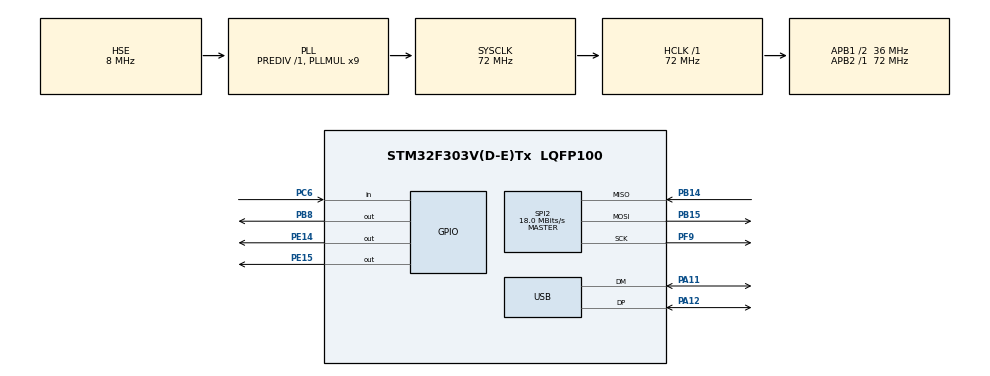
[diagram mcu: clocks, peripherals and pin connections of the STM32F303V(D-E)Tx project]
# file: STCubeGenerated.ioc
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Dma.Request0=SPI2_RX
Dma.Request1=SPI2_TX
Dma.SPI2_RX.0.Direction=DMA_PERIPH_TO_MEMORY
Dma.SPI2_RX.0.Instance=DMA1_Channel4
Dma.SPI2_RX.0.MemDataAlignment=DMA_MDATAALIGN_BYTE
Dma.SPI2_RX.0.MemInc=DMA_MINC_ENABLE
Dma.SPI2_RX.0.Mode=DMA_NORMAL
Dma.SPI2_RX.0.PeriphDataAlignment=DMA_PDATAALIGN_BYTE
Dma.SPI2_RX.0.PeriphInc=DMA_PINC_DISABLE
Dma.SPI2_RX.0.Priority=DMA_PRIORITY_LOW
Dma.SPI2_TX.1.Direction=DMA_MEMORY_TO_PERIPH
Dma.SPI2_TX.1.Instance=DMA1_Channel5
Dma.SPI2_TX.1.MemDataAlignment=DMA_MDATAALIGN_BYTE
Dma.SPI2_TX.1.MemInc=DMA_MINC_ENABLE
Dma.SPI2_TX.1.Mode=DMA_NORMAL
Dma.SPI2_TX.1.PeriphDataAlignment=DMA_PDATAALIGN_BYTE
Dma.SPI2_TX.1.PeriphInc=DMA_PINC_DISABLE
Dma.SPI2_TX.1.Priority=DMA_PRIORITY_LOW
Mcu.Family=STM32F3
Mcu.Name=STM32F303V(D-E)Tx
Mcu.Package=LQFP100
NVIC.DMA1_Channel4_IRQn=true\:0\:0\:false\:false\:true\:false
NVIC.DMA1_Channel5_IRQn=true\:0\:0\:false\:false\:true\:false
NVIC.PriorityGroup=NVIC_PRIORITYGROUP_4
NVIC.SPI2_IRQn=true\:0\:0\:false\:false\:true\:true
NVIC.USB_HP_CAN_TX_IRQn=true\:0\:0\:false\:false\:true\:true
NVIC.USB_LP_CAN_RX0_IRQn=true\:0\:0\:false\:false\:true\:true
PA11.Mode=Device
PA11.Signal=USB_DM
PA12.Mode=Device
PA12.Signal=USB_DP
PB14.Mode=Full_Duplex_Master
PB14.Signal=SPI2_MISO
PB15.Mode=Full_Duplex_Master
PB15.Signal=SPI2_MOSI
PB8.GPIO_ModeDefaultOutputPP=GPIO_MODE_OUTPUT_OD
PB8.PinState=GPIO_PIN_SET
PB8.Signal=GPIO_Output
PC6.Signal=GPIO_Input
PE14.GPIO_ModeDefaultOutputPP=GPIO_MODE_OUTPUT_OD
PE14.PinState=GPIO_PIN_SET
PE14.Signal=GPIO_Output
PE15.GPIO_ModeDefaultOutputPP=GPIO_MODE_OUTPUT_OD
PE15.PinState=GPIO_PIN_SET
PE15.Signal=GPIO_Output
PF0-OSC_IN.Mode=HSE-External-Oscillator
PF0-OSC_IN.Signal=RCC_OSC_IN
PF1-OSC_OUT.Mode=HSE-External-Oscillator
PF1-OSC_OUT.Signal=RCC_OSC_OUT
PF9.Mode=Full_Duplex_Master
PF9.Signal=SPI2_SCK
ProjectManager.HeapSize=0x200
ProjectManager.StackSize=0x400
ProjectManager.TargetToolchain=MDK-ARM V5
RCC.AHBFreq_Value=72000000
RCC.APB1CLKDivider=RCC_HCLK_DIV2
RCC.APB1Freq_Value=36000000
RCC.APB1TimFreq_Value=72000000
RCC.APB2Freq_Value=72000000
RCC.APB2TimFreq_Value=72000000
RCC.CortexFreq_Value=72000000
RCC.HCLKFreq_Value=72000000
RCC.HSE_VALUE=8000000
RCC.HSI_VALUE=8000000
RCC.LSE_VALUE=32768
RCC.PLLMUL=RCC_PLL_MUL9
RCC.PRESCALERUSB=RCC_USBCLKSOURCE_PLL_DIV1_5
RCC.SYSCLKFreq_VALUE=72000000
RCC.SYSCLKSourceVirtual=RCC_SYSCLKSOURCE_PLLCLK
RCC.USBFreq_Value=48000000
SPI2.CalculateBaudRate=18.0 MBits/s
SPI2.Direction=SPI_DIRECTION_2LINES
SPI2.Mode=SPI_MODE_MASTER
SPI2.VirtualType=VM_MASTER
board=STCubeGenerated

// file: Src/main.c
/**
  ******************************************************************************
  * File Name          : main.c
  * Description        : Main program body
  ******************************************************************************
  ** This notice applies to any and all portions of this file
  * that are not between comment pairs USER CODE BEGIN and
  * USER CODE END. Other portions of this file, whether
  * inserted by the user or by software development tools
  * are owned by their respective copyright owners.
  *
  * COPYRIGHT(c) 2018 STMicroelectronics
  *
  * Redistribution and use in source and binary forms, with or without modification,
  * are permitted provided that the following conditions are met:
  *   1. Redistributions of source code must retain the above copyright notice,
  *      this list of conditions and the following disclaimer.
  *   2. Redistributions in binary form must reproduce the above copyright notice,
  *      this list of conditions and the following disclaimer in the documentation
  *      and/or other materials provided with the distribution.
  *   3. Neither the name of STMicroelectronics nor the names of its contributors
  *      may be used to endorse or promote products derived from this software
  *      without specific prior written permission.
  *
  * THIS SOFTWARE IS PROVIDED BY THE COPYRIGHT HOLDERS AND CONTRIBUTORS "AS IS"
  * AND ANY EXPRESS OR IMPLIED WARRANTIES, INCLUDING, BUT NOT LIMITED TO, THE
  * IMPLIED WARRANTIES OF MERCHANTABILITY AND FITNESS FOR A PARTICULAR PURPOSE ARE
  * DISCLAIMED. IN NO EVENT SHALL THE COPYRIGHT HOLDER OR CONTRIBUTORS BE LIABLE
  * FOR ANY DIRECT, INDIRECT, INCIDENTAL, SPECIAL, EXEMPLARY, OR CONSEQUENTIAL
  * DAMAGES (INCLUDING, BUT NOT LIMITED TO, PROCUREMENT OF SUBSTITUTE GOODS OR
  * SERVICES; LOSS OF USE, DATA, OR PROFITS; OR BUSINESS INTERRUPTION) HOWEVER
  * CAUSED AND ON ANY THEORY OF LIABILITY, WHETHER IN CONTRACT, STRICT LIABILITY,
  * OR TORT (INCLUDING NEGLIGENCE OR OTHERWISE) ARISING IN ANY WAY OUT OF THE USE
  * OF THIS SOFTWARE, EVEN IF ADVISED OF THE POSSIBILITY OF SUCH DAMAGE.
  *
  ******************************************************************************
  */

#include "main.h"
#include "stm32f3xx_hal.h"

/* USER CODE BEGIN Includes */
#include "MX_Device.h"
/* USER CODE END Includes */

SPI_HandleTypeDef hspi2;
DMA_HandleTypeDef hdma_spi2_rx;
DMA_HandleTypeDef hdma_spi2_tx;

PCD_HandleTypeDef hpcd_USB_FS;

/* USER CODE BEGIN PV */
/* Private variables ---------------------------------------------------------*/

/* USER CODE END PV */

void SystemClock_Config(void);
static void MX_GPIO_Init(void);
static void MX_DMA_Init(void);
static void MX_USB_PCD_Init(void);
static void MX_SPI2_Init(void);

/* USER CODE BEGIN PFP */
/* Private function prototypes -----------------------------------------------*/

/* USER CODE END PFP */

/* USER CODE BEGIN 0 */

/**
  * Override default HAL_GetTick function
  */
uint32_t HAL_GetTick (void) {
  static uint32_t ticks = 0U;
         uint32_t i;

  if (osKernelGetState () == osKernelRunning) {
    return ((uint32_t)osKernelGetTickCount ());
  }

  /* If Kernel is not running wait approximately 1 ms then increment
     and return auxiliary tick counter value */
  for (i = (SystemCoreClock >> 14U); i > 0U; i--) {
    __NOP(); __NOP(); __NOP(); __NOP(); __NOP(); __NOP();
    __NOP(); __NOP(); __NOP(); __NOP(); __NOP(); __NOP();
  }
  return ++ticks;
}

/**
  Callback function used to read Card Detect (CD) pin state when
  Memory Card is used in SPI mode.
  \param[in]  drive_num                Memory Card Drive number
  \return     1:card detected, 0:card not detected, or error
*/
int32_t fs_mc_read_cd (uint32_t drive_num) {

  if (drive_num == 0U) {
    if (HAL_GPIO_ReadPin(MX_PC6_GPIOx, MX_PC6_GPIO_Pin) == GPIO_PIN_RESET) {
      return 1U;
    }
  }

  return 0U;
}

/**
  Callback function used to control Slave Select signal when
  Memory Card is used in SPI mode.
  \param[in]  drive_num                Memory Card Drive number
  \param[in]  ss                       Slave select signal state (0=inactive, 1=active)
  \return     slave select signal state
*/
int32_t fs_mc_spi_control_ss (uint32_t drive_num, uint32_t ss) {

  if (drive_num == 0U) {
    if (ss == 1U) {
      HAL_GPIO_WritePin(MX_PE15_GPIOx, MX_PE15_GPIO_Pin, GPIO_PIN_RESET);
    } else {
      HAL_GPIO_WritePin(MX_PE15_GPIOx, MX_PE15_GPIO_Pin, GPIO_PIN_SET);
    }

    return ((int32_t)ss);
  }

  return -1;
}

/**
  * @brief  Software Device Connection
  * @param  hpcd: PCD handle
  * @param  state: connection state (0 : disconnected / 1: connected)
  * @retval None
  */
void HAL_PCDEx_SetConnectionState(PCD_HandleTypeDef *hpcd, uint8_t state)
{
  if(state == 1U) {
    HAL_GPIO_WritePin(MX_PB8_GPIOx, MX_PB8_GPIO_Pin, GPIO_PIN_RESET);
  } else {
    HAL_GPIO_WritePin(MX_PB8_GPIOx, MX_PB8_GPIO_Pin, GPIO_PIN_SET);
  }
}
/* USER CODE END 0 */

int main(void)
{

  /* MCU Configuration----------------------------------------------------------*/

  /* Reset of all peripherals, Initializes the Flash interface and the Systick. */
  HAL_Init();

  /* Configure the system clock */
  SystemClock_Config();

  /* USER CODE BEGIN SysInit */
  SystemCoreClockUpdate();
  /* USER CODE END SysInit */

  /* Initialize all configured peripherals */
  MX_GPIO_Init();
  MX_DMA_Init();
  MX_USB_PCD_Init();
  MX_SPI2_Init();

  /* USER CODE BEGIN 2 */

  /* Initialize CMSIS-RTOS2 */
  osKernelInitialize ();

  /* Create application main thread */
  osThreadNew(app_main, NULL, &app_main_attr);

  /* Start thread execution */
  osKernelStart();

  /* USER CODE END 2 */

  /* Infinite loop */
  while (1)
  {

  }

}

/** System Clock Configuration
*/
void SystemClock_Config(void)
{

  RCC_OscInitTypeDef RCC_OscInitStruct;
  RCC_ClkInitTypeDef RCC_ClkInitStruct;
  RCC_PeriphCLKInitTypeDef PeriphClkInit;

    /**Initializes the CPU, AHB and APB busses clocks
    */
  RCC_OscInitStruct.OscillatorType = RCC_OSCILLATORTYPE_HSE;
  RCC_OscInitStruct.HSEState = RCC_HSE_ON;
  RCC_OscInitStruct.HSIState = RCC_HSI_ON;
  RCC_OscInitStruct.PLL.PLLState = RCC_PLL_ON;
  RCC_OscInitStruct.PLL.PLLSource = RCC_PLLSOURCE_HSE;
  RCC_OscInitStruct.PLL.PLLMUL = RCC_PLL_MUL9;
  RCC_OscInitStruct.PLL.PREDIV = RCC_PREDIV_DIV1;
  if (HAL_RCC_OscConfig(&RCC_OscInitStruct) != HAL_OK)
  {
    _Error_Handler(__FILE__, __LINE__);
  }

    /**Initializes the CPU, AHB and APB busses clocks
    */
  RCC_ClkInitStruct.ClockType = RCC_CLOCKTYPE_HCLK|RCC_CLOCKTYPE_SYSCLK
                              |RCC_CLOCKTYPE_PCLK1|RCC_CLOCKTYPE_PCLK2;
  RCC_ClkInitStruct.SYSCLKSource = RCC_SYSCLKSOURCE_PLLCLK;
  RCC_ClkInitStruct.AHBCLKDivider = RCC_SYSCLK_DIV1;
  RCC_ClkInitStruct.APB1CLKDivider = RCC_HCLK_DIV2;
  RCC_ClkInitStruct.APB2CLKDivider = RCC_HCLK_DIV1;

  if (HAL_RCC_ClockConfig(&RCC_ClkInitStruct, FLASH_LATENCY_2) != HAL_OK)
  {
    _Error_Handler(__FILE__, __LINE__);
  }

  PeriphClkInit.PeriphClockSelection = RCC_PERIPHCLK_USB;
  PeriphClkInit.USBClockSelection = RCC_USBCLKSOURCE_PLL_DIV1_5;
  if (HAL_RCCEx_PeriphCLKConfig(&PeriphClkInit) != HAL_OK)
  {
    _Error_Handler(__FILE__, __LINE__);
  }

    /**Configure the Systick interrupt time
    */
  HAL_SYSTICK_Config(HAL_RCC_GetHCLKFreq()/1000);

    /**Configure the Systick
    */
  HAL_SYSTICK_CLKSourceConfig(SYSTICK_CLKSOURCE_HCLK);

  /* SysTick_IRQn interrupt configuration */
  HAL_NVIC_SetPriority(SysTick_IRQn, 15, 0);
}

/* SPI2 init function */
static void MX_SPI2_Init(void)
{

  /* SPI2 parameter configuration*/
  hspi2.Instance = SPI2;
  hspi2.Init.Mode = SPI_MODE_MASTER;
  hspi2.Init.Direction = SPI_DIRECTION_2LINES;
  hspi2.Init.DataSize = SPI_DATASIZE_4BIT;
  hspi2.Init.CLKPolarity = SPI_POLARITY_LOW;
  hspi2.Init.CLKPhase = SPI_PHASE_1EDGE;
  hspi2.Init.NSS = SPI_NSS_SOFT;
  hspi2.Init.BaudRatePrescaler = SPI_BAUDRATEPRESCALER_2;
  hspi2.Init.FirstBit = SPI_FIRSTBIT_MSB;
  hspi2.Init.TIMode = SPI_TIMODE_DISABLE;
  hspi2.Init.CRCCalculation = SPI_CRCCALCULATION_DISABLE;
  hspi2.Init.CRCPolynomial = 7;
  hspi2.Init.CRCLength = SPI_CRC_LENGTH_DATASIZE;
  hspi2.Init.NSSPMode = SPI_NSS_PULSE_ENABLE;
  if (HAL_SPI_Init(&hspi2) != HAL_OK)
  {
    _Error_Handler(__FILE__, __LINE__);
  }

}

/* USB init function */
static void MX_USB_PCD_Init(void)
{

  hpcd_USB_FS.Instance = USB;
  hpcd_USB_FS.Init.dev_endpoints = 8;
  hpcd_USB_FS.Init.speed = PCD_SPEED_FULL;
  hpcd_USB_FS.Init.ep0_mps = DEP0CTL_MPS_64;
  hpcd_USB_FS.Init.phy_itface = PCD_PHY_EMBEDDED;
  hpcd_USB_FS.Init.low_power_enable = DISABLE;
  hpcd_USB_FS.Init.lpm_enable = DISABLE;
  hpcd_USB_FS.Init.battery_charging_enable = DISABLE;
  if (HAL_PCD_Init(&hpcd_USB_FS) != HAL_OK)
  {
    _Error_Handler(__FILE__, __LINE__);
  }

}

static void MX_DMA_Init(void)
{
  /* DMA controller clock enable */
  __HAL_RCC_DMA1_CLK_ENABLE();

  /* DMA interrupt init */
  /* DMA1_Channel4_IRQn interrupt configuration */
  HAL_NVIC_SetPriority(DMA1_Channel4_IRQn, 0, 0);
  HAL_NVIC_EnableIRQ(DMA1_Channel4_IRQn);
  /* DMA1_Channel5_IRQn interrupt configuration */
  HAL_NVIC_SetPriority(DMA1_Channel5_IRQn, 0, 0);
  HAL_NVIC_EnableIRQ(DMA1_Channel5_IRQn);

}

/** Configure pins as
        * Analog
        * Input
        * Output
        * EVENT_OUT
        * EXTI
*/
static void MX_GPIO_Init(void)
{

  GPIO_InitTypeDef GPIO_InitStruct;

  /* GPIO Ports Clock Enable */
  __HAL_RCC_GPIOF_CLK_ENABLE();
  __HAL_RCC_GPIOE_CLK_ENABLE();
  __HAL_RCC_GPIOB_CLK_ENABLE();
  __HAL_RCC_GPIOC_CLK_ENABLE();
  __HAL_RCC_GPIOA_CLK_ENABLE();

  /*Configure GPIO pin Output Level */
  HAL_GPIO_WritePin(GPIOE, GPIO_PIN_14|GPIO_PIN_15, GPIO_PIN_SET);

  /*Configure GPIO pin Output Level */
  HAL_GPIO_WritePin(GPIOB, GPIO_PIN_8, GPIO_PIN_SET);

  /*Configure GPIO pins : PE14 PE15 */
  GPIO_InitStruct.Pin = GPIO_PIN_14|GPIO_PIN_15;
  GPIO_InitStruct.Mode = GPIO_MODE_OUTPUT_OD;
  GPIO_InitStruct.Pull = GPIO_NOPULL;
  GPIO_InitStruct.Speed = GPIO_SPEED_FREQ_LOW;
  HAL_GPIO_Init(GPIOE, &GPIO_InitStruct);

  /*Configure GPIO pin : PC6 */
  GPIO_InitStruct.Pin = GPIO_PIN_6;
  GPIO_InitStruct.Mode = GPIO_MODE_INPUT;
  GPIO_InitStruct.Pull = GPIO_NOPULL;
  HAL_GPIO_Init(GPIOC, &GPIO_InitStruct);

  /*Configure GPIO pin : PB8 */
  GPIO_InitStruct.Pin = GPIO_PIN_8;
  GPIO_InitStruct.Mode = GPIO_MODE_OUTPUT_OD;
  GPIO_InitStruct.Pull = GPIO_NOPULL;
  GPIO_InitStruct.Speed = GPIO_SPEED_FREQ_LOW;
  HAL_GPIO_Init(GPIOB, &GPIO_InitStruct);

}

void _Error_Handler(char * file, int line)
{
  while(1)
  {
  }
}

/************************ (C) COPYRIGHT STMicroelectronics *****END OF FILE****/
